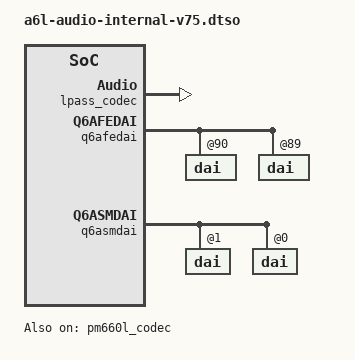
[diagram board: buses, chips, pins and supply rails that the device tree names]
// SPDX-License-Identifier: GPL-2.0-only
// V75 CANDIDATE (audio3 agent, 24 Sep 2026), never booted. Internal audio path only (headset, headset mic, main mic; the
// earpiece is wired too but broken on Pierre's unit). Same content as a6l-audio-internal.dtso ("a1") except the FIX below.
// For a base DTB WITHOUT sound links / q6asm-dais children (mainline sdm630.dtsi-based build). On the V71/V74 base.dtb,
// which already carries the a1 nodes in the wrong order, fdtoverlay cannot reorder anything: there the fix is the module
// patch a6l-q6asm-dai-xlate-v75.patch (q6asm-dai.ko resolves <&q6asmdai N> by reg), which is also correct for this file.
//
// ROOT CAUSE of the 23 Sep "inverted DPCM" (audio2 diag r180): fdtoverlay PREPENDS new child nodes, so a1's
// "dai@0 { }; dai@1 { };" under &q6asmdai ended up as dai@1, dai@0 in the merged DTB. q6asm-dai.c has no of_xlate_dai_name,
// so snd_soc_get_dlc() maps <&q6asmdai 0> to the FIRST child = MultiMedia2. Link "MultiMedia1" (pcmC0D0) therefore used the
// MultiMedia2 DAI and vice versa: with "LPI_MI2S_RX_0 Audio Mixer MultiMedia1" (MM_DL1) and "MultiMedia2 Mixer
// LPI_MI2S_TX_3" (MM_UL2) on, only pcmC0D1p and pcmC0D0c had a back end -> exactly the observed open() pattern (EINVAL =
// dpcm_fe_dai_open "no backend DAIs"). Nothing was wrong with the DPCM direction, q6routing or the link flags.
// FIX: children below are written in REVERSE order (dai@1 first) so that the merged DTB lists dai@0, dai@1 (index == reg).
// The dai-links stay reversed on purpose too (merged order must be MultiMedia1, MultiMedia2, then the q6routing BEs).
// Check: tools/check-audio-dt-links.py <merged.dtb> must print "A6L_DT_CHECK PASS rule=both".
/dts-v1/;
/plugin/;
&lpass_codec { status = "okay"; };
&pm660l_codec {
    vdd-cdc-io-supply = <&a6l_vreg_s4a>;
    vdd-cdc-tx-rx-cx-supply = <&a6l_vreg_s4a>;
    vdd-micbias-supply = <&vreg_l7b>;
    qcom,micbias-lvl = <2600>;
    qcom,micbias1-ext-cap;
    status = "okay";
};
&q6afedai {
    #address-cells = <1>;
    #size-cells = <0>;
    dai@144 { reg = <144>; qcom,sd-lines = <0 1>; };   /* LPI_MI2S_TX_3 (q6afe-dai resolves by port id: order irrelevant) */
    dai@137 { reg = <137>; qcom,sd-lines = <0 1>; };   /* LPI_MI2S_RX_0 */
};
&q6asmdai {
    #address-cells = <1>;
    #size-cells = <0>;
    dai@1 { reg = <1>; };   /* REVERSED ON PURPOSE -> merged: dai@0 (MultiMedia1) first, dai@1 (MultiMedia2) second */
    dai@0 { reg = <0>; };
};
&sound {
    compatible = "qcom,sdm660-sndcard";
    model = "Hisense A6L";
    pinctrl-names = "default";
    pinctrl-0 = <&cdc_pdm_default>, <&cdc_dmic_default>;
    audio-routing = "PDM_RX1", "Digital PDM_RX1", "PDM_RX2", "Digital PDM_RX2", "PDM_RX3", "Digital PDM_RX3",
                    "Digital LPASS_PDM_TX", "PDM_TX", "AMIC1", "MIC BIAS External1", "AMIC2", "MIC BIAS External2";
    // REVERSED ON PURPOSE: merged order = MultiMedia1, MultiMedia2, Internal MI2S Playback, Internal MI2S Capture
    int3-mi2s-dai-link {
        link-name = "Internal MI2S Capture";
        cpu { sound-dai = <&q6afedai 144>; };
        platform { sound-dai = <&q6routing>; };
        codec { sound-dai = <&pm660l_codec 1>, <&lpass_codec 1>; };
    };
    int0-mi2s-dai-link {
        link-name = "Internal MI2S Playback";
        cpu { sound-dai = <&q6afedai 137>; };
        platform { sound-dai = <&q6routing>; };
        codec { sound-dai = <&pm660l_codec 0>, <&lpass_codec 0>; };
    };
    mm2-dai-link { link-name = "MultiMedia2"; cpu { sound-dai = <&q6asmdai 1>; }; };
    mm1-dai-link { link-name = "MultiMedia1"; cpu { sound-dai = <&q6asmdai 0>; }; };
};
/ {
    fragment@90 {
        target-path = "/remoteproc/glink-edge/rpm-requests/regulators-1";
        __overlay__ { a6l_vreg_s4a: s4 { regulator-min-microvolt = <1805000>; regulator-max-microvolt = <2040000>; regulator-enable-ramp-delay = <200>; regulator-always-on; }; };
    };
    fragment@91 { target-path = "/chosen"; __overlay__ { hisense,a6l-audio = "a1-v75"; }; };
};
